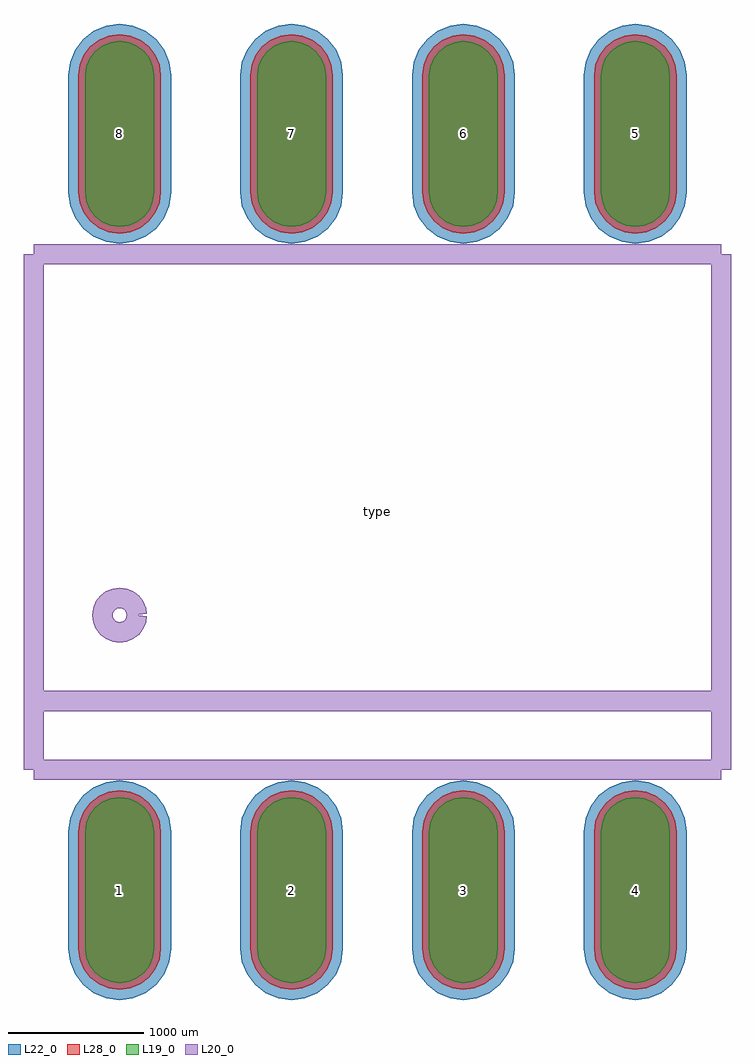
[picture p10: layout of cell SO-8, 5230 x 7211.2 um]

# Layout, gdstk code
import gdstk
lib = gdstk.Library(unit=1e-6, precision=1e-09)
def P(c, l, *ps):  # polygons
    for p in ps: c.add(gdstk.Polygon(p, *l))
L19_0 = (19, 0)
L20_0 = (20, 0)
L22_0 = (22, 0)
L28_0 = (28, 0)

so_8 = lib.new_cell('SO-8')
P(so_8, L19_0, [(-1905,2107.4),(-1839.053,2116.082),(-1777.6,2141.537),(-1724.829,2182.029),(-1684.337,2234.8),(-1658.882,2296.253),(-1650.2,2362.2),(-1650.2,3225.8),(-1658.882,3291.747),(-1684.337,3353.2),(-1724.829,3405.971),(-1777.6,3446.463),(-1839.053,3471.918),(-1905,3480.6),(-1970.947,3471.918),(-2032.4,3446.463),(-2085.171,3405.971),(-2125.663,3353.2),(-2151.118,3291.747),(-2159.8,3225.8),(-2159.8,2362.2),(-2151.118,2296.253),(-2125.663,2234.8),(-2085.171,2182.029),(-2032.4,2141.537),(-1970.947,2116.082)],
  [(-635,2107.4),(-569.053,2116.082),(-507.6,2141.537),(-454.829,2182.029),(-414.337,2234.8),(-388.882,2296.253),(-380.2,2362.2),(-380.2,3225.8),(-388.882,3291.747),(-414.337,3353.2),(-454.829,3405.971),(-507.6,3446.463),(-569.053,3471.918),(-635,3480.6),(-700.947,3471.918),(-762.4,3446.463),(-815.171,3405.971),(-855.663,3353.2),(-881.118,3291.747),(-889.8,3225.8),(-889.8,2362.2),(-881.118,2296.253),(-855.663,2234.8),(-815.171,2182.029),(-762.4,2141.537),(-700.947,2116.082)],
  [(635,2107.4),(700.947,2116.082),(762.4,2141.537),(815.171,2182.029),(855.663,2234.8),(881.118,2296.253),(889.8,2362.2),(889.8,3225.8),(881.118,3291.747),(855.663,3353.2),(815.171,3405.971),(762.4,3446.463),(700.947,3471.918),(635,3480.6),(569.053,3471.918),(507.6,3446.463),(454.829,3405.971),(414.337,3353.2),(388.882,3291.747),(380.2,3225.8),(380.2,2362.2),(388.882,2296.253),(414.337,2234.8),(454.829,2182.029),(507.6,2141.537),(569.053,2116.082)],
  [(1905,2107.4),(1970.947,2116.082),(2032.4,2141.537),(2085.171,2182.029),(2125.663,2234.8),(2151.118,2296.253),(2159.8,2362.2),(2159.8,3225.8),(2151.118,3291.747),(2125.663,3353.2),(2085.171,3405.971),(2032.4,3446.463),(1970.947,3471.918),(1905,3480.6),(1839.053,3471.918),(1777.6,3446.463),(1724.829,3405.971),(1684.337,3353.2),(1658.882,3291.747),(1650.2,3225.8),(1650.2,2362.2),(1658.882,2296.253),(1684.337,2234.8),(1724.829,2182.029),(1777.6,2141.537),(1839.053,2116.082)],
  [(1905,-3480.6),(1970.947,-3471.918),(2032.4,-3446.463),(2085.171,-3405.971),(2125.663,-3353.2),(2151.118,-3291.747),(2159.8,-3225.8),(2159.8,-2362.2),(2151.118,-2296.253),(2125.663,-2234.8),(2085.171,-2182.029),(2032.4,-2141.537),(1970.947,-2116.082),(1905,-2107.4),(1839.053,-2116.082),(1777.6,-2141.537),(1724.829,-2182.029),(1684.337,-2234.8),(1658.882,-2296.253),(1650.2,-2362.2),(1650.2,-3225.8),(1658.882,-3291.747),(1684.337,-3353.2),(1724.829,-3405.971),(1777.6,-3446.463),(1839.053,-3471.918)],
  [(635,-3480.6),(700.947,-3471.918),(762.4,-3446.463),(815.171,-3405.971),(855.663,-3353.2),(881.118,-3291.747),(889.8,-3225.8),(889.8,-2362.2),(881.118,-2296.253),(855.663,-2234.8),(815.171,-2182.029),(762.4,-2141.537),(700.947,-2116.082),(635,-2107.4),(569.053,-2116.082),(507.6,-2141.537),(454.829,-2182.029),(414.337,-2234.8),(388.882,-2296.253),(380.2,-2362.2),(380.2,-3225.8),(388.882,-3291.747),(414.337,-3353.2),(454.829,-3405.971),(507.6,-3446.463),(569.053,-3471.918)],
  [(-635,-3480.6),(-569.053,-3471.918),(-507.6,-3446.463),(-454.829,-3405.971),(-414.337,-3353.2),(-388.882,-3291.747),(-380.2,-3225.8),(-380.2,-2362.2),(-388.882,-2296.253),(-414.337,-2234.8),(-454.829,-2182.029),(-507.6,-2141.537),(-569.053,-2116.082),(-635,-2107.4),(-700.947,-2116.082),(-762.4,-2141.537),(-815.171,-2182.029),(-855.663,-2234.8),(-881.118,-2296.253),(-889.8,-2362.2),(-889.8,-3225.8),(-881.118,-3291.747),(-855.663,-3353.2),(-815.171,-3405.971),(-762.4,-3446.463),(-700.947,-3471.918)],
  [(-1905,-3480.6),(-1839.053,-3471.918),(-1777.6,-3446.463),(-1724.829,-3405.971),(-1684.337,-3353.2),(-1658.882,-3291.747),(-1650.2,-3225.8),(-1650.2,-2362.2),(-1658.882,-2296.253),(-1684.337,-2234.8),(-1724.829,-2182.029),(-1777.6,-2141.537),(-1839.053,-2116.082),(-1905,-2107.4),(-1970.947,-2116.082),(-2032.4,-2141.537),(-2085.171,-2182.029),(-2125.663,-2234.8),(-2151.118,-2296.253),(-2159.8,-2362.2),(-2159.8,-3225.8),(-2151.118,-3291.747),(-2125.663,-3353.2),(-2085.171,-3405.971),(-2032.4,-3446.463),(-1970.947,-3471.918)])
P(so_8, L22_0, [(-1905,1982.4),(-1806.701,1995.341),(-1715.1,2033.284),(-1636.441,2093.641),(-1576.084,2172.3),(-1538.141,2263.901),(-1525.2,2362.2),(-1525.2,3225.8),(-1538.141,3324.099),(-1576.084,3415.7),(-1636.441,3494.359),(-1715.1,3554.716),(-1806.701,3592.659),(-1905,3605.6),(-2003.299,3592.659),(-2094.9,3554.716),(-2173.559,3494.359),(-2233.916,3415.7),(-2271.859,3324.099),(-2284.8,3225.8),(-2284.8,2362.2),(-2271.859,2263.901),(-2233.916,2172.3),(-2173.559,2093.641),(-2094.9,2033.284),(-2003.299,1995.341)],
  [(-635,1982.4),(-536.701,1995.341),(-445.1,2033.284),(-366.441,2093.641),(-306.084,2172.3),(-268.141,2263.901),(-255.2,2362.2),(-255.2,3225.8),(-268.141,3324.099),(-306.084,3415.7),(-366.441,3494.359),(-445.1,3554.716),(-536.701,3592.659),(-635,3605.6),(-733.299,3592.659),(-824.9,3554.716),(-903.559,3494.359),(-963.916,3415.7),(-1001.859,3324.099),(-1014.8,3225.8),(-1014.8,2362.2),(-1001.859,2263.901),(-963.916,2172.3),(-903.559,2093.641),(-824.9,2033.284),(-733.299,1995.341)],
  [(635,1982.4),(733.299,1995.341),(824.9,2033.284),(903.559,2093.641),(963.916,2172.3),(1001.859,2263.901),(1014.8,2362.2),(1014.8,3225.8),(1001.859,3324.099),(963.916,3415.7),(903.559,3494.359),(824.9,3554.716),(733.299,3592.659),(635,3605.6),(536.701,3592.659),(445.1,3554.716),(366.441,3494.359),(306.084,3415.7),(268.141,3324.099),(255.2,3225.8),(255.2,2362.2),(268.141,2263.901),(306.084,2172.3),(366.441,2093.641),(445.1,2033.284),(536.701,1995.341)],
  [(1905,1982.4),(2003.299,1995.341),(2094.9,2033.284),(2173.559,2093.641),(2233.916,2172.3),(2271.859,2263.901),(2284.8,2362.2),(2284.8,3225.8),(2271.859,3324.099),(2233.916,3415.7),(2173.559,3494.359),(2094.9,3554.716),(2003.299,3592.659),(1905,3605.6),(1806.701,3592.659),(1715.1,3554.716),(1636.441,3494.359),(1576.084,3415.7),(1538.141,3324.099),(1525.2,3225.8),(1525.2,2362.2),(1538.141,2263.901),(1576.084,2172.3),(1636.441,2093.641),(1715.1,2033.284),(1806.701,1995.341)],
  [(1905,-3605.6),(2003.299,-3592.659),(2094.9,-3554.716),(2173.559,-3494.359),(2233.916,-3415.7),(2271.859,-3324.099),(2284.8,-3225.8),(2284.8,-2362.2),(2271.859,-2263.901),(2233.916,-2172.3),(2173.559,-2093.641),(2094.9,-2033.284),(2003.299,-1995.341),(1905,-1982.4),(1806.701,-1995.341),(1715.1,-2033.284),(1636.441,-2093.641),(1576.084,-2172.3),(1538.141,-2263.901),(1525.2,-2362.2),(1525.2,-3225.8),(1538.141,-3324.099),(1576.084,-3415.7),(1636.441,-3494.359),(1715.1,-3554.716),(1806.701,-3592.659)],
  [(635,-3605.6),(733.299,-3592.659),(824.9,-3554.716),(903.559,-3494.359),(963.916,-3415.7),(1001.859,-3324.099),(1014.8,-3225.8),(1014.8,-2362.2),(1001.859,-2263.901),(963.916,-2172.3),(903.559,-2093.641),(824.9,-2033.284),(733.299,-1995.341),(635,-1982.4),(536.701,-1995.341),(445.1,-2033.284),(366.441,-2093.641),(306.084,-2172.3),(268.141,-2263.901),(255.2,-2362.2),(255.2,-3225.8),(268.141,-3324.099),(306.084,-3415.7),(366.441,-3494.359),(445.1,-3554.716),(536.701,-3592.659)],
  [(-635,-3605.6),(-536.701,-3592.659),(-445.1,-3554.716),(-366.441,-3494.359),(-306.084,-3415.7),(-268.141,-3324.099),(-255.2,-3225.8),(-255.2,-2362.2),(-268.141,-2263.901),(-306.084,-2172.3),(-366.441,-2093.641),(-445.1,-2033.284),(-536.701,-1995.341),(-635,-1982.4),(-733.299,-1995.341),(-824.9,-2033.284),(-903.559,-2093.641),(-963.916,-2172.3),(-1001.859,-2263.901),(-1014.8,-2362.2),(-1014.8,-3225.8),(-1001.859,-3324.099),(-963.916,-3415.7),(-903.559,-3494.359),(-824.9,-3554.716),(-733.299,-3592.659)],
  [(-1905,-3605.6),(-1806.701,-3592.659),(-1715.1,-3554.716),(-1636.441,-3494.359),(-1576.084,-3415.7),(-1538.141,-3324.099),(-1525.2,-3225.8),(-1525.2,-2362.2),(-1538.141,-2263.901),(-1576.084,-2172.3),(-1636.441,-2093.641),(-1715.1,-2033.284),(-1806.701,-1995.341),(-1905,-1982.4),(-2003.299,-1995.341),(-2094.9,-2033.284),(-2173.559,-2093.641),(-2233.916,-2172.3),(-2271.859,-2263.901),(-2284.8,-2362.2),(-2284.8,-3225.8),(-2271.859,-3324.099),(-2233.916,-3415.7),(-2173.559,-3494.359),(-2094.9,-3554.716),(-2003.299,-3592.659)])
P(so_8, L28_0, [(-1905,2057.4),(-1826.112,2067.786),(-1752.6,2098.235),(-1689.474,2146.674),(-1641.035,2209.8),(-1610.586,2283.312),(-1600.2,2362.2),(-1600.2,3225.8),(-1610.586,3304.688),(-1641.035,3378.2),(-1689.474,3441.326),(-1752.6,3489.765),(-1826.112,3520.214),(-1905,3530.6),(-1983.888,3520.214),(-2057.4,3489.765),(-2120.526,3441.326),(-2168.965,3378.2),(-2199.414,3304.688),(-2209.8,3225.8),(-2209.8,2362.2),(-2199.414,2283.312),(-2168.965,2209.8),(-2120.526,2146.674),(-2057.4,2098.235),(-1983.888,2067.786)],
  [(-635,2057.4),(-556.112,2067.786),(-482.6,2098.235),(-419.474,2146.674),(-371.035,2209.8),(-340.586,2283.312),(-330.2,2362.2),(-330.2,3225.8),(-340.586,3304.688),(-371.035,3378.2),(-419.474,3441.326),(-482.6,3489.765),(-556.112,3520.214),(-635,3530.6),(-713.888,3520.214),(-787.4,3489.765),(-850.526,3441.326),(-898.965,3378.2),(-929.414,3304.688),(-939.8,3225.8),(-939.8,2362.2),(-929.414,2283.312),(-898.965,2209.8),(-850.526,2146.674),(-787.4,2098.235),(-713.888,2067.786)],
  [(635,2057.4),(713.888,2067.786),(787.4,2098.235),(850.526,2146.674),(898.965,2209.8),(929.414,2283.312),(939.8,2362.2),(939.8,3225.8),(929.414,3304.688),(898.965,3378.2),(850.526,3441.326),(787.4,3489.765),(713.888,3520.214),(635,3530.6),(556.112,3520.214),(482.6,3489.765),(419.474,3441.326),(371.035,3378.2),(340.586,3304.688),(330.2,3225.8),(330.2,2362.2),(340.586,2283.312),(371.035,2209.8),(419.474,2146.674),(482.6,2098.235),(556.112,2067.786)],
  [(1905,2057.4),(1983.888,2067.786),(2057.4,2098.235),(2120.526,2146.674),(2168.965,2209.8),(2199.414,2283.312),(2209.8,2362.2),(2209.8,3225.8),(2199.414,3304.688),(2168.965,3378.2),(2120.526,3441.326),(2057.4,3489.765),(1983.888,3520.214),(1905,3530.6),(1826.112,3520.214),(1752.6,3489.765),(1689.474,3441.326),(1641.035,3378.2),(1610.586,3304.688),(1600.2,3225.8),(1600.2,2362.2),(1610.586,2283.312),(1641.035,2209.8),(1689.474,2146.674),(1752.6,2098.235),(1826.112,2067.786)],
  [(1905,-3530.6),(1983.888,-3520.214),(2057.4,-3489.765),(2120.526,-3441.326),(2168.965,-3378.2),(2199.414,-3304.688),(2209.8,-3225.8),(2209.8,-2362.2),(2199.414,-2283.312),(2168.965,-2209.8),(2120.526,-2146.674),(2057.4,-2098.235),(1983.888,-2067.786),(1905,-2057.4),(1826.112,-2067.786),(1752.6,-2098.235),(1689.474,-2146.674),(1641.035,-2209.8),(1610.586,-2283.312),(1600.2,-2362.2),(1600.2,-3225.8),(1610.586,-3304.688),(1641.035,-3378.2),(1689.474,-3441.326),(1752.6,-3489.765),(1826.112,-3520.214)],
  [(635,-3530.6),(713.888,-3520.214),(787.4,-3489.765),(850.526,-3441.326),(898.965,-3378.2),(929.414,-3304.688),(939.8,-3225.8),(939.8,-2362.2),(929.414,-2283.312),(898.965,-2209.8),(850.526,-2146.674),(787.4,-2098.235),(713.888,-2067.786),(635,-2057.4),(556.112,-2067.786),(482.6,-2098.235),(419.474,-2146.674),(371.035,-2209.8),(340.586,-2283.312),(330.2,-2362.2),(330.2,-3225.8),(340.586,-3304.688),(371.035,-3378.2),(419.474,-3441.326),(482.6,-3489.765),(556.112,-3520.214)],
  [(-635,-3530.6),(-556.112,-3520.214),(-482.6,-3489.765),(-419.474,-3441.326),(-371.035,-3378.2),(-340.586,-3304.688),(-330.2,-3225.8),(-330.2,-2362.2),(-340.586,-2283.312),(-371.035,-2209.8),(-419.474,-2146.674),(-482.6,-2098.235),(-556.112,-2067.786),(-635,-2057.4),(-713.888,-2067.786),(-787.4,-2098.235),(-850.526,-2146.674),(-898.965,-2209.8),(-929.414,-2283.312),(-939.8,-2362.2),(-939.8,-3225.8),(-929.414,-3304.688),(-898.965,-3378.2),(-850.526,-3441.326),(-787.4,-3489.765),(-713.888,-3520.214)],
  [(-1905,-3530.6),(-1826.112,-3520.214),(-1752.6,-3489.765),(-1689.474,-3441.326),(-1641.035,-3378.2),(-1610.586,-3304.688),(-1600.2,-3225.8),(-1600.2,-2362.2),(-1610.586,-2283.312),(-1641.035,-2209.8),(-1689.474,-2146.674),(-1752.6,-2098.235),(-1826.112,-2067.786),(-1905,-2057.4),(-1983.888,-2067.786),(-2057.4,-2098.235),(-2120.526,-2146.674),(-2168.965,-2209.8),(-2199.414,-2283.312),(-2209.8,-2362.2),(-2209.8,-3225.8),(-2199.414,-3304.688),(-2168.965,-3378.2),(-2120.526,-3441.326),(-2057.4,-3489.765),(-1983.888,-3520.214)])
so_8.add(gdstk.FlexPath([(2540,-1905),(2540,1905)], 149.998, ends="flush", simple_path=True, layer=20, datatype=0))  # L20_0
so_8.add(gdstk.FlexPath([(-2540,-1905),(-2540,1905)], 149.998, ends="flush", simple_path=True, layer=20, datatype=0))  # L20_0
so_8.add(gdstk.FlexPath([(-2540,-1905),(2540,-1905)], 149.998, ends="flush", simple_path=True, layer=20, datatype=0))  # L20_0
so_8.add(gdstk.FlexPath([(-2540,1905),(2540,1905)], 149.998, ends="flush", simple_path=True, layer=20, datatype=0))  # L20_0
so_8.add(gdstk.FlexPath([(-2540,-1397),(2540,-1397)], 149.998, ends="flush", simple_path=True, layer=20, datatype=0))  # L20_0
so_8.add(gdstk.FlexPath([(-1778,-762),(-1782.327,-729.13),(-1795.015,-698.5),(-1815.197,-672.197),(-1841.5,-652.015),(-1872.13,-639.327),(-1905,-635),(-1937.87,-639.327),(-1968.5,-652.015),(-1994.803,-672.197),(-2014.985,-698.5),(-2027.673,-729.13),(-2032,-762),(-2027.673,-794.87),(-2014.985,-825.5),(-1994.803,-851.803),(-1968.5,-871.985),(-1937.87,-884.673),(-1905,-889),(-1872.13,-884.673),(-1841.5,-871.985),(-1815.197,-851.803),(-1795.015,-825.5),(-1782.327,-794.87),(-1778,-762)], 149.998, ends="flush", simple_path=True, layer=20, datatype=0))  # L20_0
so_8.add(gdstk.Label('8', (-1905,2794), layer=28, texttype=0))
so_8.add(gdstk.Label('7', (-635,2794), layer=28, texttype=0))
so_8.add(gdstk.Label('6', (635,2794), layer=28, texttype=0))
so_8.add(gdstk.Label('5', (1905,2794), layer=28, texttype=0))
so_8.add(gdstk.Label('4', (1905,-2794), layer=28, texttype=0))
so_8.add(gdstk.Label('3', (635,-2794), layer=28, texttype=0))
so_8.add(gdstk.Label('2', (-635,-2794), layer=28, texttype=0))
so_8.add(gdstk.Label('1', (-1905,-2794), layer=28, texttype=0))
so_8.add(gdstk.Label('type', (0,0), layer=9, texttype=0))
so_8.add(gdstk.Label('devicename', (0,0), layer=9, texttype=0))

lib.write_gds('SO-8.gds')
